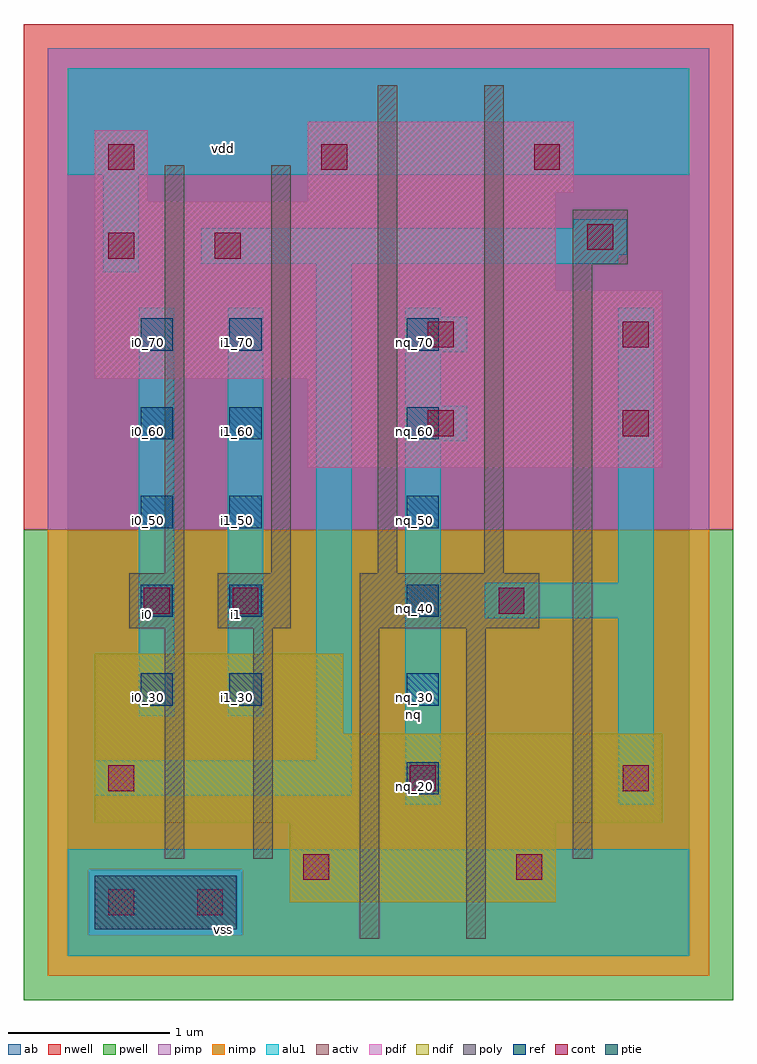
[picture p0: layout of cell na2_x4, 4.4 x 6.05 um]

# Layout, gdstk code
import gdstk
lib = gdstk.Library(unit=1e-6, precision=2.5e-09)
def R(c, l, rs):  # rectangles x0, y0, x1, y1
    for r in rs: c.add(gdstk.rectangle(r[:2], r[2:], *l))
def A(c, l, x, y, w, h, nx, ny, dx, dy):  # array of equal rectangles
    R(c, l, [(x+i*dx, y+j*dy, x+i*dx+w, y+j*dy+h) for i in range(nx) for j in range(ny)])
ndif = (3, 0)
pdif = (4, 0)
ptie = (6, 0)
ref = (24, 0)
cont = (25, 0)
pwell = (41, 0)
nwell = (42, 0)
activ = (43, 0)
pimp = (44, 0)
nimp = (45, 0)
poly = (46, 0)
alu1 = (49, 0)
ab = (63, 0)

na2_x4 = lib.new_cell('na2_x4')
R(na2_x4, ndif, [(1.375,0.33,3.025,0.825), (0.165,0.825,3.685,1.375), (0.165,1.375,1.705,1.87)])
R(na2_x4, pdif, [(1.485,3.025,3.685,3.575), (0.165,3.575,3.685,4.125), (0.165,4.125,3.025,4.675), (0.165,4.675,0.495,5.115), (1.485,4.675,3.025,4.73), (1.485,4.73,3.135,5.17)])
R(na2_x4, ptie, [(0.165,0.165,1.045,0.495)])
A(na2_x4, ref, 2.1, 1, 0.2, 0.2, 1, 6, 0, 0.55)
A(na2_x4, ref, 0.45, 1.55, 0.2, 0.2, 1, 5, 0, 0.55)
A(na2_x4, ref, 1, 1.55, 0.2, 0.2, 1, 5, 0, 0.55)
A(na2_x4, cont, 0.25, 4.87, 0.16, 0.16, 3, 1, 1.32, 0)
R(na2_x4, cont, [(0.25,0.25,0.41,0.41), (0.8,0.25,0.96,0.41), (1.46,0.47,1.62,0.63), (2.78,0.47,2.94,0.63), (0.25,1.02,0.41,1.18), (2.12,1.02,2.28,1.18), (3.44,1.02,3.6,1.18), (0.47,2.12,0.63,2.28), (1.02,2.12,1.18,2.28), (2.67,2.12,2.83,2.28), (2.23,3.22,2.39,3.38), (3.44,3.22,3.6,3.38), (2.23,3.77,2.39,3.93), (3.44,3.77,3.6,3.93), (0.25,4.32,0.41,4.48), (0.91,4.32,1.07,4.48), (3.22,4.375,3.38,4.535)])
R(na2_x4, pwell, [(-0.275,-0.275,4.125,2.64)])
R(na2_x4, nwell, [(-0.275,2.64,4.125,5.775)])
R(na2_x4, activ, [(0.165,0.165,1.045,0.495), (1.375,0.33,3.025,0.825), (0.165,0.825,3.685,1.375), (0.165,1.375,1.705,1.87), (1.485,3.025,3.685,3.575), (0.165,3.575,3.685,4.125), (0.165,4.125,3.025,4.675), (0.165,4.675,0.495,5.115), (1.485,4.675,3.025,4.73), (1.485,4.73,3.135,5.17)])
R(na2_x4, pimp, [(0.125,0.125,1.085,0.535), (-0.125,2.64,3.975,5.625)])
R(na2_x4, nimp, [(-0.125,-0.125,3.975,0.125), (-0.125,0.125,0.125,0.535), (1.085,0.125,3.975,0.535), (-0.125,0.535,3.975,2.64)])
R(na2_x4, poly, [(1.81,0.105,1.93,2.03), (2.47,0.105,2.59,2.03), (0.6,0.6,0.72,2.03), (1.15,0.6,1.27,2.03), (3.13,0.6,3.25,4.285), (0.38,2.03,0.72,2.37), (0.93,2.03,1.38,2.37), (1.81,2.03,2.92,2.37), (0.6,2.37,0.72,4.9), (1.26,2.37,1.38,4.9), (1.92,2.37,2.04,5.395), (2.58,2.37,2.7,5.395), (3.13,4.285,3.47,4.625)])
R(na2_x4, alu1, [(0,0,3.85,0.66), (2.09,0.935,2.31,3.19), (3.41,0.935,3.63,2.09), (0.165,0.99,1.76,1.21), (1.54,1.21,1.76,4.29), (0.44,1.485,0.66,4.015), (0.99,1.485,1.21,4.015), (2.585,2.09,3.63,2.31), (3.41,2.31,3.63,4.015), (2.09,3.19,2.475,3.41), (2.09,3.41,2.31,3.74), (2.09,3.74,2.475,3.96), (2.09,3.96,2.31,4.015), (0.22,4.235,0.44,4.84), (0.825,4.29,3.41,4.345), (0.825,4.345,3.465,4.51), (3.135,4.51,3.465,4.565), (0,4.84,3.85,5.5)])
R(na2_x4, ab, [(0,0,3.85,5.5)])
na2_x4.add(gdstk.Label('vss', (0.9625,0.165), layer=49, texttype=0))
na2_x4.add(gdstk.Label('nq', (2.145,1.4975), layer=49, texttype=0))
na2_x4.add(gdstk.Label('i1', (1.045,2.1175), layer=49, texttype=0))
na2_x4.add(gdstk.Label('i0', (0.495,2.1175), layer=49, texttype=0))
na2_x4.add(gdstk.Label('vdd', (0.9625,5.005), layer=49, texttype=0))
na2_x4.add(gdstk.Label('i1_30', (1.05,1.6), layer=24, texttype=0))
na2_x4.add(gdstk.Label('i1_40', (1.05,2.15), layer=24, texttype=0))
na2_x4.add(gdstk.Label('i1_50', (1.05,2.7), layer=24, texttype=0))
na2_x4.add(gdstk.Label('i1_60', (1.05,3.25), layer=24, texttype=0))
na2_x4.add(gdstk.Label('i1_70', (1.05,3.8), layer=24, texttype=0))
na2_x4.add(gdstk.Label('i0_70', (0.5,3.8), layer=24, texttype=0))
na2_x4.add(gdstk.Label('i0_60', (0.5,3.25), layer=24, texttype=0))
na2_x4.add(gdstk.Label('i0_50', (0.5,2.7), layer=24, texttype=0))
na2_x4.add(gdstk.Label('i0_40', (0.5,2.15), layer=24, texttype=0))
na2_x4.add(gdstk.Label('i0_30', (0.5,1.6), layer=24, texttype=0))
na2_x4.add(gdstk.Label('nq_70', (2.15,3.8), layer=24, texttype=0))
na2_x4.add(gdstk.Label('nq_60', (2.15,3.25), layer=24, texttype=0))
na2_x4.add(gdstk.Label('nq_50', (2.15,2.7), layer=24, texttype=0))
na2_x4.add(gdstk.Label('nq_40', (2.15,2.15), layer=24, texttype=0))
na2_x4.add(gdstk.Label('nq_30', (2.15,1.6), layer=24, texttype=0))
na2_x4.add(gdstk.Label('nq_20', (2.15,1.05), layer=24, texttype=0))

lib.write_gds('na2_x4.gds')
